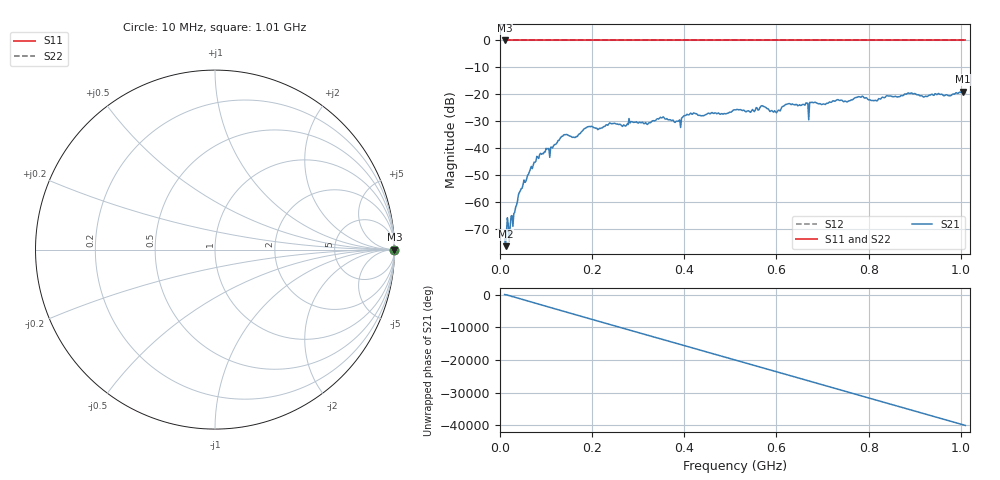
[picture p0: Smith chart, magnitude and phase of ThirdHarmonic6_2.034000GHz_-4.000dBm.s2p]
! 8/17/2025 12:23:57 AM
! C:\ANRITSUVNA\TEMP\TEMP.S2P
! CHANNEL.1
! TR.MEASUREMENT
! RAW.DATA
! RF.CORRECTION.OFF
! AVERAGING.OFF
! IF.BANDWIDTH: 5KHZ
! SWEEPTYPE:  FREQ.SWEEP(Linear)
! Reference Plane Port Info
! PORT:  PORT1  PORT2
! DISTANCE:  0  m  0  m
! TIME:  0  s  0  s
! PHASE.OFFSET:  0  deg.  0  deg.
! LOSS:  0  dB  0  dB
! REF.LOSS:  0  dB  0  dB
! REF.FREQ:  0  Hz  0  Hz
! Power Info
! POWER:  -20  dBm  -20  dBm
! EFF.POWER:  -20  dBm  -20  dBm
! SOURCE.ATTEN:  0  dB  0  dB
! TEST.ATTEN:  0  dB  0  dB
# GHZ S RI R 50.0
! FREQ.GHZ  S11RE  S11IM  S21RE  S21IM  S12RE  S12IM  S22RE  S22IM
!; PortSelection: Port_12
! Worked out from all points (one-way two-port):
!   501 points, 10 MHz to 1.01 GHz, reference 50 ohm
!   highest |S21| = -19.01 dB at 1.004 GHz (marker M1); lowest = -76.5 dB at 12 MHz (marker M2)
!   lowest |S11| = 0.0 dB at 10 MHz (marker M3)
!   |S11| at or under -10 dB: nowhere
!   |S22| runs from 0.0 to 0.0 dB; largest |S21 - S12| = 1.1
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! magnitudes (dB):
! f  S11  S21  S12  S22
! 10 MHz  0.0  -73.8  0.0  0.0
! 12 MHz  0.0  -76.5  0.0  0.0
! 24 MHz  0.0  -65.4  0.0  0.0
! 48 MHz  0.0  -55.0  0.0  0.0
! 84 MHz  0.0  -43.9  0.0  0.0
! 112 MHz  0.0  -39.7  0.0  0.0
! 136 MHz  0.0  -35.6  0.0  0.0
! 164 MHz  0.0  -36.1  0.0  0.0
! 178 MHz  0.0  -33.8  0.0  0.0
! 194 MHz  0.0  -32.0  0.0  0.0
! 344 MHz  0.0  -29.3  0.0  0.0
! 388 MHz  0.0  -29.9  0.0  0.0
! 410 MHz  0.0  -27.7  0.0  0.0
! 510 MHz  0.0  -25.8  0.0  0.0
! 570 MHz  0.0  -24.3  0.0  0.0
! 598 MHz  0.0  -26.6  0.0  0.0
! 624 MHz  0.0  -23.6  0.0  0.0
! 666 MHz  0.0  -23.3  0.0  0.0
! 678 MHz  0.0  -23.0  0.0  0.0
! 844 MHz  0.0  -20.7  0.0  0.0
! 1.004 GHz  0.0  -19.0  0.0  0.0
! 1.01 GHz  0.0  -19.5  0.0  0.0
